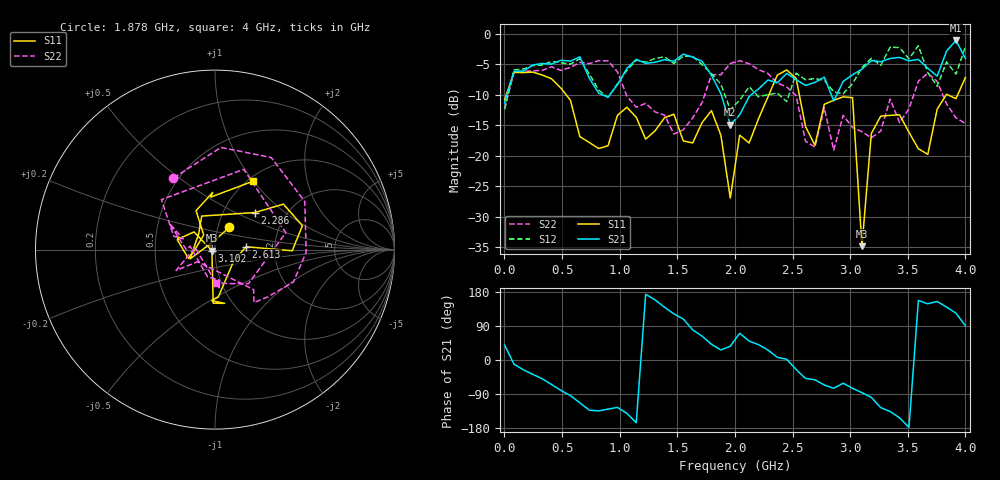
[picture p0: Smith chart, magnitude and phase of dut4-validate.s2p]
!Created with skrf (http://scikit-rf.org).
# GHz S DB R 50.0
!freq dBS11 angS11 dBS21 angS21 dBS12 angS12 dBS22 angS22
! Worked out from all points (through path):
!   50 points, 1 MHz to 4 GHz, reference 50 ohm
!   highest |S21| = -1.11 dB at 3.918 GHz (marker M1); lowest = -14.9 dB at 1.96 GHz (marker M2)
!   lowest |S11| = -34.8 dB at 3.102 GHz (marker M3), VSWR 1.04, Z = 48.3 - j0.528 ohm
!   |S11| at or under -10 dB: start of sweep to 15.16 MHz; 535.1 MHz to 2.295 GHz (1.76 GHz wide, 124 % of centre); 2.559 GHz to 3.834 GHz (1.275 GHz wide, 39.9 % of centre)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
!   |S22| runs from -19.1 to -4.4 dB; largest |S21 - S12| = 0.42
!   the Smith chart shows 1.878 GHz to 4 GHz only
!   S11 on the Smith chart (normalised r, x): 1.878 GHz: 1.14, +0.29; 2.286 GHz: 1.40, +0.64; 2.613 GHz: 1.42, +0.05; 3.102 GHz: 0.97, -0.01; 4 GHz: 1.06, +1.00
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0.001  -10.77 -129.3  -11.32 39.2  -12.41 27.9  -12.20 -89.0
0.08261224  -6.34 163.4  -6.14 -11.1  -5.92 -11.2  -6.32 168.5
0.327449  -6.77 107.9  -4.88 -49.6  -5.13 -45.0  -6.01 123.6
0.7355102  -17.80 -68.8  -7.27 -132.3  -6.56 -143.3  -4.90 8.8
0.8987347  -18.35 97.7  -10.39 -129.6  -10.42 -135.6  -4.46 -42.7
1.388408  -13.78 -116.6  -4.26 139.3  -3.79 148.7  -13.32 -138.9
1.633245  -17.89 138.0  -3.86 79.6  -3.69 80.7  -13.79 166.2
1.878082  -16.65 57.0  -9.83 26.5  -8.27 35.9  -6.72 120.1
1.959694  -26.90 104.8  -14.89 36.3  -12.44 40.9  -4.88 86.7
2.041306  -16.61 -159.6  -13.29 70.6  -10.89 53.9  -4.42 58.6
2.286143  -10.37 43.0  -7.59 26.5  -9.98 23.4  -6.51 -22.5
2.449367  -5.94 15.3  -6.49 1.9  -11.14 -3.7  -8.73 -53.7
2.612592  -15.20 5.3  -8.47 -48.7  -7.53 -36.1  -17.60 -77.8
2.694204  -18.27 -32.2  -7.97 -52.1  -7.35 -35.0  -18.56 -145.1
3.020653  -10.49 -91.9  -6.73 -74.7  -8.17 -82.0  -15.35 -82.3
3.102265  -34.79 -162.6  -5.81 -86.1  -5.56 -102.5  -16.05 -104.9
3.183878  -16.33 139.9  -4.41 -98.6  -4.04 -99.0  -17.04 172.3
3.347102  -13.37 160.9  -4.05 -135.8  -2.20 -149.4  -10.71 150.3
3.591939  -18.84 -178.2  -4.22 157.1  -1.96 164.0  -7.78 137.0
3.673551  -19.75 127.5  -5.65 148.5  -6.36 148.5  -6.47 70.3
3.918388  -10.64 94.5  -1.11 123.5  -6.63 130.6  -13.77 -67.6
4  -7.17 60.7  -4.06 90.4  -2.16 92.8  -14.71 -88.3
